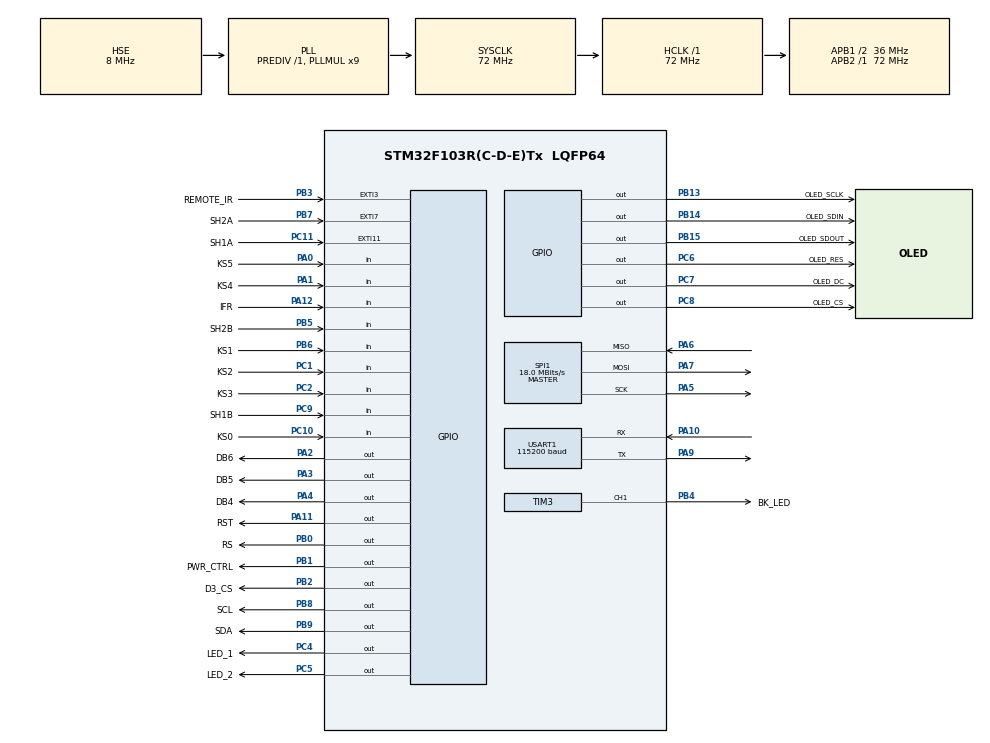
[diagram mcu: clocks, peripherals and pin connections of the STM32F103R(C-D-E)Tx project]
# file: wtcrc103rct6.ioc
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Mcu.Family=STM32F1
Mcu.Name=STM32F103R(C-D-E)Tx
Mcu.Package=LQFP64
NVIC.EXTI15_10_IRQn=true\:0\:0\:false\:false\:true\:true\:true\:true
NVIC.EXTI3_IRQn=true\:0\:0\:false\:false\:true\:true\:true\:true
NVIC.EXTI9_5_IRQn=true\:0\:0\:false\:false\:true\:true\:true\:true
NVIC.PriorityGroup=NVIC_PRIORITYGROUP_4
PA0-WKUP.GPIO_Label=KS5
PA0-WKUP.GPIO_PuPd=GPIO_PULLUP
PA0-WKUP.Signal=GPIO_Input
PA1.GPIO_Label=KS4
PA1.Signal=GPIO_Input
PA10.Mode=Asynchronous
PA10.Signal=USART1_RX
PA11.GPIO_Label=RST
PA11.GPIO_PuPd=GPIO_PULLUP
PA11.Signal=GPIO_Output
PA12.GPIO_Label=IFR
PA12.Signal=GPIO_Input
PA13.Mode=Serial_Wire
PA13.Signal=SYS_JTMS-SWDIO
PA14.Mode=Serial_Wire
PA14.Signal=SYS_JTCK-SWCLK
PA15.Signal=SYS_JTDI
PA2.GPIO_Label=DB6
PA2.GPIO_ModeDefaultOutputPP=GPIO_MODE_OUTPUT_OD
PA2.GPIO_Speed=GPIO_SPEED_FREQ_MEDIUM
PA2.PinState=GPIO_PIN_SET
PA2.Signal=GPIO_Output
PA3.GPIO_Label=DB5
PA3.GPIO_ModeDefaultOutputPP=GPIO_MODE_OUTPUT_OD
PA3.GPIO_Speed=GPIO_SPEED_FREQ_MEDIUM
PA3.PinState=GPIO_PIN_SET
PA3.Signal=GPIO_Output
PA4.GPIO_Label=DB4
PA4.GPIO_ModeDefaultOutputPP=GPIO_MODE_OUTPUT_OD
PA4.GPIO_Speed=GPIO_SPEED_FREQ_MEDIUM
PA4.PinState=GPIO_PIN_SET
PA4.Signal=GPIO_Output
PA5.Mode=Full_Duplex_Master
PA5.Signal=SPI1_SCK
PA6.Mode=Full_Duplex_Master
PA6.Signal=SPI1_MISO
PA7.Mode=Full_Duplex_Master
PA7.Signal=SPI1_MOSI
PA9.Mode=Asynchronous
PA9.Signal=USART1_TX
PB0.GPIO_Label=RS
PB0.Signal=GPIO_Output
PB1.GPIO_Label=PWR_CTRL
PB1.GPIO_Speed=GPIO_SPEED_FREQ_MEDIUM
PB1.Signal=GPIO_Output
PB10.Signal=USART3_TX
PB11.Signal=USART3_RX
PB13.GPIO_Label=OLED_SCLK
PB13.GPIO_PuPd=GPIO_PULLUP
PB13.GPIO_Speed=GPIO_SPEED_FREQ_HIGH
PB13.Signal=GPIO_Output
PB14.GPIO_Label=OLED_SDIN
PB14.GPIO_PuPd=GPIO_PULLUP
PB14.GPIO_Speed=GPIO_SPEED_FREQ_HIGH
PB14.Signal=GPIO_Output
PB15.GPIO_Label=OLED_SDOUT
PB15.GPIO_PuPd=GPIO_PULLUP
PB15.GPIO_Speed=GPIO_SPEED_FREQ_HIGH
PB15.Signal=GPIO_Output
PB2.GPIO_Label=D3_CS
PB2.PinState=GPIO_PIN_SET
PB2.Signal=GPIO_Output
PB3.GPIO_Label=REMOTE_IR
PB3.GPIO_ModeDefaultEXTI=GPIO_MODE_IT_FALLING
PB3.GPIO_PuPd=GPIO_PULLUP
PB3.Signal=GPXTI3
PB4.GPIO_Label=BK_LED
PB4.Signal=S_TIM3_CH1
PB5.GPIO_Label=SH2B
PB5.GPIO_Mode=GPIO_MODE_INPUT
PB5.GPIO_PuPd=GPIO_PULLUP
PB5.Signal=GPIO_Input
PB6.GPIO_Label=KS1
PB6.GPIO_PuPd=GPIO_PULLUP
PB6.Signal=GPIO_Input
PB7.GPIO_Label=SH2A
PB7.GPIO_ModeDefaultEXTI=GPIO_MODE_IT_RISING_FALLING
PB7.GPIO_PuPd=GPIO_NOPULL
PB7.Signal=GPXTI7
PB8.GPIO_Label=SCL
PB8.GPIO_ModeDefaultOutputPP=GPIO_MODE_OUTPUT_OD
PB8.GPIO_PuPd=GPIO_NOPULL
PB8.GPIO_Speed=GPIO_SPEED_FREQ_MEDIUM
PB8.Signal=GPIO_Output
PB9.GPIO_Label=SDA
PB9.GPIO_ModeDefaultOutputPP=GPIO_MODE_OUTPUT_OD
PB9.GPIO_PuPd=GPIO_NOPULL
PB9.GPIO_Speed=GPIO_SPEED_FREQ_MEDIUM
PB9.Signal=GPIO_Output
PC1.GPIO_Label=KS2
PC1.Signal=GPIO_Input
PC10.GPIO_Label=KS0
PC10.GPIO_PuPd=GPIO_PULLUP
PC10.Signal=GPIO_Input
PC11.GPIO_Label=SH1A
PC11.GPIO_ModeDefaultEXTI=GPIO_MODE_IT_RISING_FALLING
PC11.GPIO_PuPd=GPIO_NOPULL
PC11.Signal=GPXTI11
PC14-OSC32_IN.Mode=LSE-External-Oscillator
PC14-OSC32_IN.Signal=RCC_OSC32_IN
PC15-OSC32_OUT.Mode=LSE-External-Oscillator
PC15-OSC32_OUT.Signal=RCC_OSC32_OUT
PC2.GPIO_Label=KS3
PC2.Signal=GPIO_Input
PC4.GPIO_Label=LED_1
PC4.Signal=GPIO_Output
PC5.GPIO_Label=LED_2
PC5.Signal=GPIO_Output
PC6.GPIO_Label=OLED_RES
PC6.Signal=GPIO_Output
PC7.GPIO_Label=OLED_DC
PC7.Signal=GPIO_Output
PC8.GPIO_Label=OLED_CS
PC8.Signal=GPIO_Output
PC9.GPIO_Label=SH1B
PC9.GPIO_PuPd=GPIO_PULLUP
PC9.Signal=GPIO_Input
PD0-OSC_IN.Mode=HSE-External-Oscillator
PD0-OSC_IN.Signal=RCC_OSC_IN
PD1-OSC_OUT.Mode=HSE-External-Oscillator
PD1-OSC_OUT.Signal=RCC_OSC_OUT
ProjectManager.HeapSize=0x200
ProjectManager.StackSize=0x400
ProjectManager.TargetToolchain=MDK-ARM V5
RCC.AHBFreq_Value=72000000
RCC.APB1CLKDivider=RCC_HCLK_DIV2
RCC.APB1Freq_Value=36000000
RCC.APB1TimFreq_Value=72000000
RCC.APB2Freq_Value=72000000
RCC.APB2TimFreq_Value=72000000
RCC.FLatency=FLASH_LATENCY_2
RCC.HCLKFreq_Value=72000000
RCC.PLLMUL=RCC_PLL_MUL9
RCC.PLLSourceVirtual=RCC_PLLSOURCE_HSE
RCC.SYSCLKFreq_VALUE=72000000
RCC.SYSCLKSource=RCC_SYSCLKSOURCE_PLLCLK
RCC.USBFreq_Value=72000000
SH.S_TIM3_CH1.0=TIM3_CH1,PWM Generation1 CH1
SPI1.BaudRatePrescaler=SPI_BAUDRATEPRESCALER_4
SPI1.CLKPhase=SPI_PHASE_2EDGE
SPI1.CLKPolarity=SPI_POLARITY_LOW
SPI1.CRCCalculation=SPI_CRCCALCULATION_DISABLE
SPI1.CalculateBaudRate=18.0 MBits/s
SPI1.DataSize=SPI_DATASIZE_8BIT
SPI1.Direction=SPI_DIRECTION_2LINES
SPI1.FirstBit=SPI_FIRSTBIT_MSB
SPI1.Mode=SPI_MODE_MASTER
SPI1.NSS=SPI_NSS_SOFT
SPI1.TIMode=SPI_TIMODE_DISABLE
SPI1.VirtualType=VM_MASTER
TIM3.AutoReloadPreload=TIM_AUTORELOAD_PRELOAD_DISABLE
TIM3.Channel-PWM\ Generation1\ CH1=TIM_CHANNEL_1
TIM3.ClockDivision=TIM_CLOCKDIVISION_DIV1
TIM3.CounterMode=TIM_COUNTERMODE_UP
TIM3.OC1Preload_PWM=ENABLE
TIM3.OCFastMode_PWM-PWM\ Generation1\ CH1=TIM_OCFAST_DISABLE
TIM3.OCMode_PWM-PWM\ Generation1\ CH1=TIM_OCMODE_PWM1
TIM3.OCPolarity_1=TIM_OCPOLARITY_HIGH
TIM3.Period=65535
TIM3.Prescaler=0
TIM3.Pulse-PWM\ Generation1\ CH1=0
TIM3.TIM_MasterOutputTrigger=TIM_TRGO_RESET
TIM3.TIM_MasterSlaveMode=TIM_MASTERSLAVEMODE_DISABLE
TIM7.Prescaler=72-1
USART1.BaudRate=115200
USART1.Mode=MODE_TX_RX
USART1.Parity=PARITY_NONE
USART1.StopBits=STOPBITS_1
USART1.VirtualMode=VM_ASYNC
USART1.WordLength=WORDLENGTH_8B
VP_TIM7_VS_ClockSourceINT.Mode=Enable_Timer
board=custom

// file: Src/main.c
/* USER CODE BEGIN Header */
/**
  ******************************************************************************
  * @file           : main.c
  * @brief          : Main program body
  ******************************************************************************
  ** This notice applies to any and all portions of this file
  * that are not between comment pairs USER CODE BEGIN and
  * USER CODE END. Other portions of this file, whether
  * inserted by the user or by software development tools
  * are owned by their respective copyright owners.
  *
  * COPYRIGHT(c) 2019 STMicroelectronics
  *
  * Redistribution and use in source and binary forms, with or without modification,
  * are permitted provided that the following conditions are met:
  *   1. Redistributions of source code must retain the above copyright notice,
  *      this list of conditions and the following disclaimer.
  *   2. Redistributions in binary form must reproduce the above copyright notice,
  *      this list of conditions and the following disclaimer in the documentation
  *      and/or other materials provided with the distribution.
  *   3. Neither the name of STMicroelectronics nor the names of its contributors
  *      may be used to endorse or promote products derived from this software
  *      without specific prior written permission.
  *
  * THIS SOFTWARE IS PROVIDED BY THE COPYRIGHT HOLDERS AND CONTRIBUTORS "AS IS"
  * AND ANY EXPRESS OR IMPLIED WARRANTIES, INCLUDING, BUT NOT LIMITED TO, THE
  * IMPLIED WARRANTIES OF MERCHANTABILITY AND FITNESS FOR A PARTICULAR PURPOSE ARE
  * DISCLAIMED. IN NO EVENT SHALL THE COPYRIGHT HOLDER OR CONTRIBUTORS BE LIABLE
  * FOR ANY DIRECT, INDIRECT, INCIDENTAL, SPECIAL, EXEMPLARY, OR CONSEQUENTIAL
  * DAMAGES (INCLUDING, BUT NOT LIMITED TO, PROCUREMENT OF SUBSTITUTE GOODS OR
  * SERVICES; LOSS OF USE, DATA, OR PROFITS; OR BUSINESS INTERRUPTION) HOWEVER
  * CAUSED AND ON ANY THEORY OF LIABILITY, WHETHER IN CONTRACT, STRICT LIABILITY,
  * OR TORT (INCLUDING NEGLIGENCE OR OTHERWISE) ARISING IN ANY WAY OUT OF THE USE
  * OF THIS SOFTWARE, EVEN IF ADVISED OF THE POSSIBILITY OF SUCH DAMAGE.
  *
  ******************************************************************************
  */
/* USER CODE END Header */
#include "main.h"
#include "spi.h"
#include "tim.h"
#include "usart.h"
#include "gpio.h"

/* USER CODE BEGIN Includes */
#include "font.h"
#ifdef LCD25696
#include "lcd25696.h"
#include "chinese_code.h"
#else
#include "oled.h"
#endif
#include "bmp.h"
#include "tuner.h"

/* USER CODE END Includes */

/* USER CODE BEGIN PTD */
extern void IR_Check();
/* USER CODE END PTD */

void SystemClock_Config(void);

/* USER CODE BEGIN 0 */

int fputc(int ch, FILE *f)
{
	HAL_UART_Transmit(&huart1, (uint8_t *)&ch, 1, 0xfff);
	return ch;
}

int fgetc(FILE *f)
{
	uint8_t ch;
	HAL_UART_Receive(&huart1, (uint8_t *)&ch, 1, 0xfff);
	return ch;
}
/* USER CODE END 0 */

int main(void)
{

  /* MCU Configuration--------------------------------------------------------*/

  /* Reset of all peripherals, Initializes the Flash interface and the Systick. */
  HAL_Init();

  /* Configure the system clock */
  SystemClock_Config();

  /* Initialize all configured peripherals */
  MX_GPIO_Init();
  MX_SPI1_Init();
  MX_USART1_UART_Init();
  MX_TIM3_Init();
  MX_TIM7_Init();
  /* USER CODE BEGIN 2 */
	//wait tts booted

	OLED_Init();
  clear_screen();//clear oled
  /* USER CODE END 2 */

  /* Infinite loop */
  /* USER CODE BEGIN WHILE */

	//clear_screen();//clear oled

	/*OLED_ShowCHinese(8,0,0);
	OLED_ShowCHinese(26,0,1);
	OLED_ShowCHinese(44,0,2);
	OLED_ShowCHinese(62,0,3);
	OLED_ShowCHinese(80,0,4);
	OLED_ShowCHinese(98,0,5);
	*/
	//OLED_ShowPicture(0,0,128,64,BMP1,1);
	//OLED_Refresh();
	HAL_GPIO_WritePin(LED_1_GPIO_Port,LED_1_Pin,GPIO_PIN_SET);
	HAL_Delay(100);
	HAL_GPIO_WritePin(LED_1_GPIO_Port,LED_1_Pin,GPIO_PIN_RESET);
	HAL_Delay(500);

	HAL_GPIO_WritePin(PWR_CTRL_GPIO_Port, PWR_CTRL_Pin, GPIO_PIN_SET);//open power

	OLED_XYStr(2,2,"Initializing");
	HAL_GPIO_WritePin(LED_2_GPIO_Port,LED_2_Pin,GPIO_PIN_SET);
	HAL_Delay(100);
	HAL_GPIO_WritePin(LED_2_GPIO_Port,LED_2_Pin,GPIO_PIN_RESET);

	HAL_Delay(500);
	OLED_Refresh();
	TunerInit();
	HAL_Delay(3000);

	printf("����������");
	fflush(stdout);
	ApplyTTSSettings();
	HAL_Delay(3000);

	 printf("�粨��Խɽ�� ����������");//ad for boot
  fflush(stdout);
	//TuneFreq(101700);//fm 101.7
	//TuneFreq(88000);//fm 88.0

  while (1)
  {
		//disp_256x96(1,1,bmp1);

		TunerLoop();
		IR_Check();
		OLED_Refresh();
    /* USER CODE END WHILE */

    /* USER CODE BEGIN 3 */

		//HAL_GPIO_WritePin(LED_1_GPIO_Port,LED_1_Pin,GPIO_PIN_SET);
		//HAL_Delay(100);
		//HAL_GPIO_WritePin(LED_1_GPIO_Port,LED_1_Pin,GPIO_PIN_RESET);

  }
  /* USER CODE END 3 */
}

void SystemClock_Config(void)
{
  RCC_OscInitTypeDef RCC_OscInitStruct = {0};
  RCC_ClkInitTypeDef RCC_ClkInitStruct = {0};

  /** Initializes the RCC Oscillators according to the specified parameters
  * in the RCC_OscInitTypeDef structure.
  */
  RCC_OscInitStruct.OscillatorType = RCC_OSCILLATORTYPE_HSE;
  RCC_OscInitStruct.HSEState = RCC_HSE_ON;
  RCC_OscInitStruct.HSEPredivValue = RCC_HSE_PREDIV_DIV1;
  RCC_OscInitStruct.HSIState = RCC_HSI_ON;
  RCC_OscInitStruct.PLL.PLLState = RCC_PLL_ON;
  RCC_OscInitStruct.PLL.PLLSource = RCC_PLLSOURCE_HSE;
  RCC_OscInitStruct.PLL.PLLMUL = RCC_PLL_MUL9;
  if (HAL_RCC_OscConfig(&RCC_OscInitStruct) != HAL_OK)
  {
    Error_Handler();
  }

  /** Initializes the CPU, AHB and APB buses clocks
  */
  RCC_ClkInitStruct.ClockType = RCC_CLOCKTYPE_HCLK|RCC_CLOCKTYPE_SYSCLK
                              |RCC_CLOCKTYPE_PCLK1|RCC_CLOCKTYPE_PCLK2;
  RCC_ClkInitStruct.SYSCLKSource = RCC_SYSCLKSOURCE_PLLCLK;
  RCC_ClkInitStruct.AHBCLKDivider = RCC_SYSCLK_DIV1;
  RCC_ClkInitStruct.APB1CLKDivider = RCC_HCLK_DIV2;
  RCC_ClkInitStruct.APB2CLKDivider = RCC_HCLK_DIV1;

  if (HAL_RCC_ClockConfig(&RCC_ClkInitStruct, FLASH_LATENCY_2) != HAL_OK)
  {
    Error_Handler();
  }
}

void Error_Handler(void)
{
}
